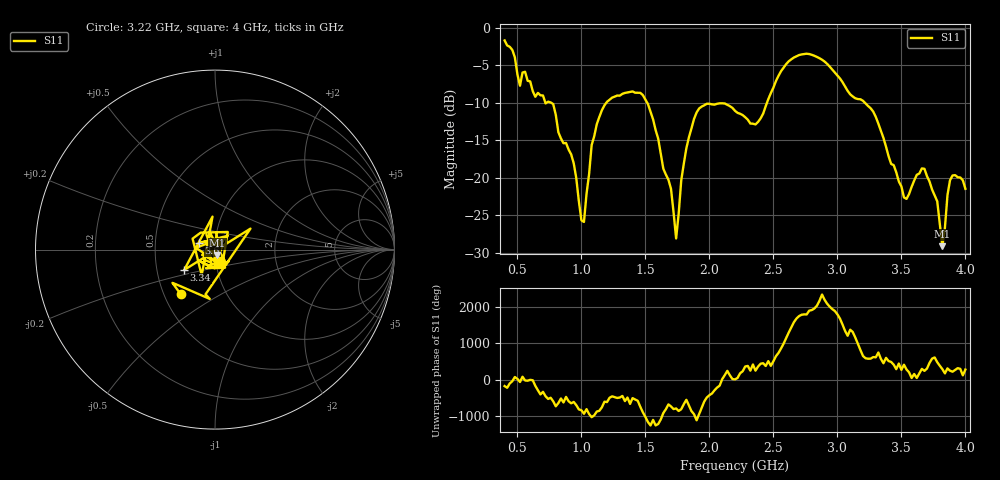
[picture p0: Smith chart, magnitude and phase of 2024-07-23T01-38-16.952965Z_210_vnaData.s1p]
!Created with skrf (http://scikit-rf.org).
# Hz S RI R 50.0
!freq ReS11 ImS11
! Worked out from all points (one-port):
!   181 points, 400 MHz to 4 GHz, reference 50 ohm
!   lowest |S11| = -29.1 dB at 3.82 GHz (marker M1), VSWR 1.07, Z = 51.3 - j3.31 ohm
!   |S11| at or under -10 dB: 765 MHz to 1.194 GHz (429.1 MHz wide, 43.8 % of centre); 1.514 GHz to 2.449 GHz (935.2 MHz wide, 47.2 % of centre); 3.215 GHz to end of sweep (the widest 3 of 4)
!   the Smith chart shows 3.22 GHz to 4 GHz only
!   S11 on the Smith chart (normalised r, x): 3.22 GHz: 0.61, -0.33; 3.34 GHz: 0.69, -0.16; 3.6 GHz: 0.84, +0.06; 4 GHz: 1.01, -0.17
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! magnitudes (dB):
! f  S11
! 400 MHz  -1.7
! 520 MHz  -7.7
! 780 MHz  -10.2
! 860 MHz  -15.4
! 940 MHz  -18.1
! 1.02 GHz  -25.9
! 1.08 GHz  -15.6
! 1.12 GHz  -12.9
! 1.3 GHz  -9.0
! 1.52 GHz  -10.2
! 1.7 GHz  -21.5
! 1.74 GHz  -28.1
! 1.76 GHz  -24.8
! 1.82 GHz  -16.1
! 1.9 GHz  -11.3
! 2.2 GHz  -11.1
! 2.36 GHz  -12.9
! 2.66 GHz  -3.9
! 3.1 GHz  -8.9
! 3.22 GHz  -10.1
! 3.34 GHz  -13.7
! 3.56 GHz  -22.2
! 3.6 GHz  -20.4
! 3.68 GHz  -18.8
! 3.78 GHz  -23.1
! 3.82 GHz  -29.1
! 3.88 GHz  -20.3
! 4 GHz  -21.5
